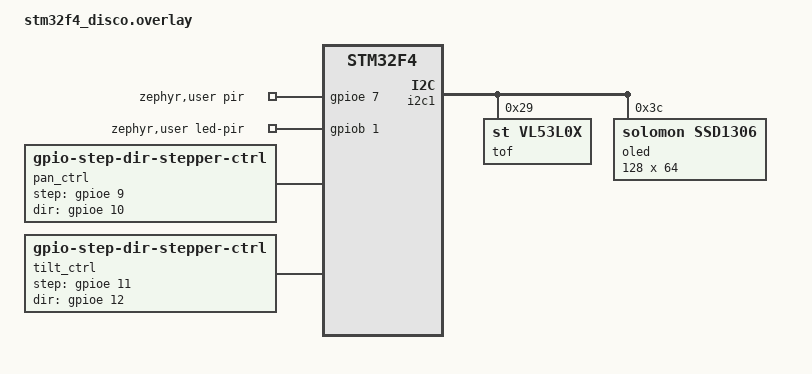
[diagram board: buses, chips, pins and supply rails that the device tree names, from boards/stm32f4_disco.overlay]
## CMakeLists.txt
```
cmake_minimum_required(VERSION 3.20.0)

find_package(Zephyr REQUIRED HINTS $ENV{ZEPHYR_BASE})
project(turret)

target_sources(app PRIVATE
	src/main.c
    sensors/vl53l0x.c
    sensors/pir.c
    sensors/oled.c
    drivers/coords.c
)

target_include_directories(app PRIVATE sensors drivers)
```

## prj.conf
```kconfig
CONFIG_GPIO=y
CONFIG_LOG=y
CONFIG_STDOUT_CONSOLE=y
CONFIG_I2C=y
CONFIG_SENSOR=y
CONFIG_VL53L0X_PROXIMITY_THRESHOLD=100
CONFIG_DISPLAY=y
CONFIG_CHARACTER_FRAMEBUFFER=y 

CONFIG_CBPRINTF_FP_SUPPORT=y
# CFB allocates its framebuffer (128x64/8 = 1 KB) with k_malloc
CONFIG_HEAP_MEM_POOL_SIZE=2048
CONFIG_UART_INTERRUPT_DRIVEN=y
CONFIG_STEPPER=y
CONFIG_GPIO_STEPPER_COUNTER_TIMING=n
```

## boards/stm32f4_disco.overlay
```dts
/ {
	chosen {
		/* UART the python coords come in on (shared with the log console) */
		turret,coords-uart = &usart2;
	};

	zephyr,user {
		pir-gpios = <&gpioe 7 (GPIO_ACTIVE_HIGH | GPIO_PULL_DOWN)>;
        led-pir-gpios   = <&gpiob 1 (GPIO_ACTIVE_HIGH)>;
	};

	/* A4988 drivers, run by Zephyr's GPIO step/dir motion controller */
	pan_ctrl: pan-motion-controller {
		compatible = "zephyr,gpio-step-dir-stepper-ctrl";
		step-gpios = <&gpioe 9  GPIO_ACTIVE_HIGH>;
		dir-gpios  = <&gpioe 10 GPIO_ACTIVE_HIGH>;
	};

	tilt_ctrl: tilt-motion-controller {
		compatible = "zephyr,gpio-step-dir-stepper-ctrl";
		step-gpios = <&gpioe 11 GPIO_ACTIVE_HIGH>;
		dir-gpios  = <&gpioe 12 GPIO_ACTIVE_HIGH>;
	};
};

/* VL53L0X ToF sensor on I2C1: SCL = PB6, SDA = PB9 */
&i2c1 {
	tof: vl53l0x@29 {
		compatible = "st,vl53l0x";
		reg = <0x29>;
	};

 oled: ssd1306@3c {
                compatible = "solomon,ssd1306";
                reg = <0x3c>;
                width = <128>;
                height = <64>;
                segment-offset = <0>;
                page-offset = <0>;
                display-offset = <0>;
                multiplex-ratio = <63>;
                segment-remap;
                com-invdir;
                prechargep = <0x22>;
        };
};
```

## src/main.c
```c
#include <stdlib.h>          // abs()
#include <zephyr/kernel.h>
#include <zephyr/drivers/gpio.h>
#include <zephyr/logging/log.h>
#include <zephyr/drivers/stepper/stepper_ctrl.h>
#include "vl53l0x.h"
#include "pir.h"
#include "oled.h"
#include "coords.h"

/* PIR pin comes from boards/stm32f4_disco.overlay (zephyr,user node) */
#define USER_NODE DT_PATH(zephyr_user)

LOG_MODULE_REGISTER(turret, LOG_LEVEL_INF);

#define CENTERX       320     // frame center for a 640x480 camera
#define CENTERY       240
#define DEADZONE_PX   10      // ignore errors smaller than this (px)
#define MAX_PAN       2500.0f // pan speed limit (steps/s), like setMaxSpeed(2500)
#define MAX_TILT      700.0f  // tilt speed limit (steps/s)
#define MIN_SPS       20.0f   // slower than this counts as "stop"
#define COORDS_TIMEOUT_MS 300 // no coords for this long -> stop both motors

static float Kp_PAN  = 15.0f;  // steps/s per pixel of error
static float Kp_TILT = 4.0f;  

// which DIR pin level means "left" / "up". if the motor turns the wrong way
#define PAN_LEFT   STEPPER_CTRL_DIRECTION_POSITIVE
#define PAN_RIGHT  STEPPER_CTRL_DIRECTION_NEGATIVE
#define TILT_UP    STEPPER_CTRL_DIRECTION_POSITIVE
#define TILT_DOWN  STEPPER_CTRL_DIRECTION_NEGATIVE

static bool oled_ok;   // set by startup_seq(), used in the main loop

static const struct device *const pan_dev  = DEVICE_DT_GET(DT_NODELABEL(pan_ctrl));
static const struct device *const tilt_dev = DEVICE_DT_GET(DT_NODELABEL(tilt_ctrl));

// run one motor in a direction at sps steps/s (always positive).
// the controller keeps stepping in the background until it's told otherwise.
static int motor_run(const struct device *dev, enum stepper_ctrl_direction dir,
		     float sps, float max_sps)
{
	sps = MIN(sps, max_sps);
	if (sps < MIN_SPS) {
		return stepper_ctrl_stop(dev);
	}

	int ret = stepper_ctrl_set_microstep_interval(dev, (uint64_t)(NSEC_PER_SEC / sps));
	if (ret < 0) {
		return ret;
	}
	return stepper_ctrl_run(dev, dir);
}

static void pan_left(float sps)   { motor_run(pan_dev,  PAN_LEFT,  sps, MAX_PAN); }
static void pan_right(float sps)  { motor_run(pan_dev,  PAN_RIGHT, sps, MAX_PAN); }
static void pan_stop(void)        { stepper_ctrl_stop(pan_dev); }
static void tilt_up(float sps)    { motor_run(tilt_dev, TILT_UP,   sps, MAX_TILT); }
static void tilt_down(float sps)  { motor_run(tilt_dev, TILT_DOWN, sps, MAX_TILT); }
static void tilt_stop(void)       { stepper_ctrl_stop(tilt_dev); }

static const struct pir_sensor pir = {
    .name = "pir",
    .pin = GPIO_DT_SPEC_GET(USER_NODE, pir_gpios),
};

static const struct gpio_dt_spec pir_led = GPIO_DT_SPEC_GET(USER_NODE, led_pir_gpios);

// brings up every peripheral. returns 0 if the turret can run, negative if not.
static int startup_seq(void)
{
	if (!device_is_ready(pan_dev) || !device_is_ready(tilt_dev)) {
		LOG_ERR("stepper controllers not ready");
		return -ENODEV;
	}
	LOG_INF("Steppers ready.");

	if (vl53l0x_init() < 0) {
		return -ENODEV;
	}
	LOG_INF("ToF sensor ready.");

	if (pir_init(&pir) < 0) {
		return -ENODEV;
	}
	LOG_INF("PIR sensor ready.");

	if (!gpio_is_ready_dt(&pir_led)) {
		LOG_ERR("PIR led is not ready..");
		return -ENODEV;
	}
	if (gpio_pin_configure_dt(&pir_led, GPIO_OUTPUT_INACTIVE) < 0) {   // output, starts off
		LOG_ERR("PIR led config failed");
		return -ENODEV;
	}
	LOG_INF("PIR LED ready.");

	oled_ok = (oled_init() == 0);   // no "bool" here: assigns the global instead of making a new local
	if (oled_ok) {
		LOG_INF("OLED ready.");
		oled_print("turret", "starting...");
	} else {
		LOG_WRN("OLED not found, continuing without display");
	}

	if (coords_init() < 0) {
		return -ENODEV;
	}
	LOG_INF("Coords UART ready.");
    
    return 0;
}

int main(void)
{
	if (startup_seq() < 0) {
		LOG_ERR("startup failed, stopping");
		return 0;
	}

	struct coords tgt = { .found = false };   // newest target, kept between loop passes
	int64_t last_coords_ms = 0;               // time of the last coords message

	while (1) {
		float inch = 0.0f;
		bool near = false;

		int ret = vl53l0x_read_in(&inch, &near);

		bool new_coords = coords_get(&tgt);   // true only on passes where a new message arrived
		if (new_coords) {
			if (tgt.found) {
				LOG_INF("target x=%d y=%d", tgt.x, tgt.y);
			} else {
				LOG_INF("no target");
			}
		}

		if (oled_ok) {
			oled_show_coords(tgt.x, tgt.y, tgt.found, inch);
		}

		if (ret == 0) {
			//LOG_INF("distance %.1f in, near = %d", (double)inch, near);
		}

		if (pir_detect(&pir)) {
			LOG_INF("motion detected");
            gpio_pin_set_dt(&pir_led, 1);
		}
        else {
            gpio_pin_set_dt(&pir_led, 0);
        }

		// track: on every new message, set a speed. the motors keep running at that
		// speed between messages (like runSpeed() on the Arduino)
		if (new_coords) {
			last_coords_ms = k_uptime_get();

			if (tgt.found) {
				int errX = tgt.x - CENTERX;   // <0: left of center, >0: right of center
				int errY = tgt.y - CENTERY;   // <0: above center,   >0: below center
				const char *pan_cmd;
				const char *tilt_cmd;

				// ---- pan ----
				if (errX < -DEADZONE_PX) {          // face is left of center
					pan_left(Kp_PAN * -errX);
					pan_cmd = "LEFT";
				} else if (errX > DEADZONE_PX) {    // face is right of center
					pan_right(Kp_PAN * errX);
					pan_cmd = "RIGHT";
				} else {
					pan_stop();
					pan_cmd = "STOP";
				}

				// ---- tilt ----
				if (errY < -DEADZONE_PX) {          // face is above center
					tilt_up(Kp_TILT * -errY);
					tilt_cmd = "UP";
				} else if (errY > DEADZONE_PX) {    // face is below center
					tilt_down(Kp_TILT * errY);
					tilt_cmd = "DOWN";
				} else {
					tilt_stop();
					tilt_cmd = "STOP";
				}

				LOG_INF("errX %d -> %s %d sps | errY %d -> %s %d sps",
					errX, pan_cmd, (int)(Kp_PAN * abs(errX)),
					errY, tilt_cmd, (int)(Kp_TILT * abs(errY)));
			} else {
				// python sent NONE: same as the Arduino "S"
				pan_stop();
				tilt_stop();
			}
		}

		// safety: velocity mode runs until told otherwise, so stop if python goes quiet
		if (k_uptime_get() - last_coords_ms > COORDS_TIMEOUT_MS) {
			pan_stop();
			tilt_stop();
		}

		k_msleep(10);   // short sleep so speed updates keep up with the camera
	}

	return 0;
}
```
